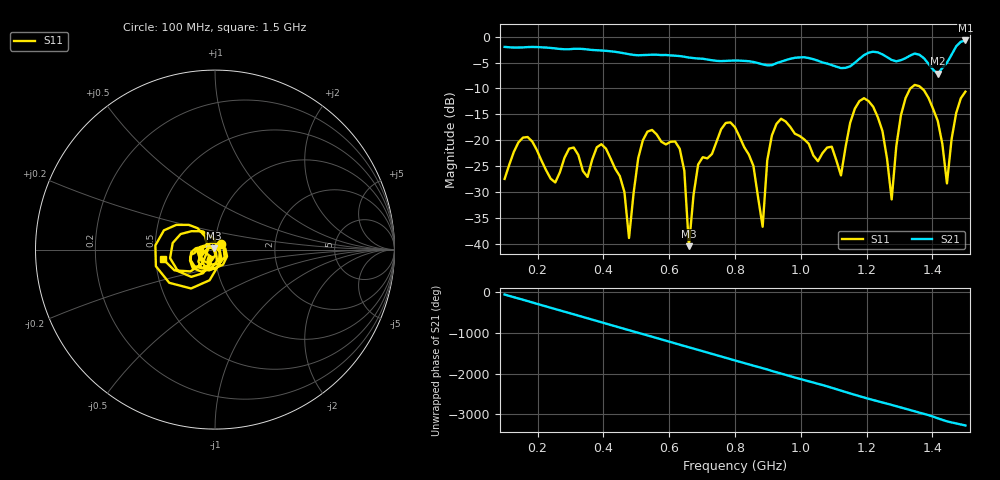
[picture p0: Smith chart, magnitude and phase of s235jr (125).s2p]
! NanoVNA-App
! Date: 2025-09-25 15:05:08
! Start: 100MHz Stop: 1,5GHz Points: 101
! S-Parameter data: F S11 S21 S12 S22
# Hz S RI R 50
!  Frequency  S11_Real  S11_Imag  S21_Real  S21_Imag  S12_Real  S12_Imag  S22_Real  S22_Imag
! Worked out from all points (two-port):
!   101 points, 100 MHz to 1.5 GHz, reference 50 ohm
!   highest |S21| = -0.72 dB at 1.5 GHz (marker M1); lowest = -7.1 dB at 1.416 GHz (marker M2)
!   |S21| within 3 dB of the highest: start of sweep to 628.1 MHz; 1.189 GHz to 1.256 GHz (67.3 MHz wide, 5.5 % of centre) (the widest 2 of 4)
!   lowest |S11| = -40.5 dB at 660 MHz (marker M3), VSWR 1.02, Z = 49.3 + j0.615 ohm
!   |S11| at or under -10 dB: start of sweep to 1.333 GHz; 1.368 GHz to end of sweep
!   S12 and S22 are empty: the file has one direction only
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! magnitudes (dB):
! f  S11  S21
! 100 MHz  -27.5  -2.0
! 170 MHz  -19.4  -2.0
! 338 MHz  -26.0  -2.4
! 408 MHz  -21.6  -2.7
! 478 MHz  -38.9  -3.4
! 520 MHz  -20.0  -3.5
! 576 MHz  -20.3  -3.5
! 632 MHz  -21.6  -3.7
! 660 MHz  -40.5  -4.0
! 688 MHz  -24.7  -4.2
! 800 MHz  -17.5  -4.6
! 884 MHz  -36.7  -5.3
! 926 MHz  -16.8  -5.1
! 1.038 GHz  -22.9  -4.3
! 1.122 GHz  -26.8  -6.1
! 1.192 GHz  -11.9  -3.6
! 1.248 GHz  -18.2  -3.4
! 1.276 GHz  -31.4  -4.5
! 1.332 GHz  -10.0  -3.6
! 1.416 GHz  -16.3  -7.1
! 1.444 GHz  -28.3  -5.0
! 1.5 GHz  -10.6  -0.7
